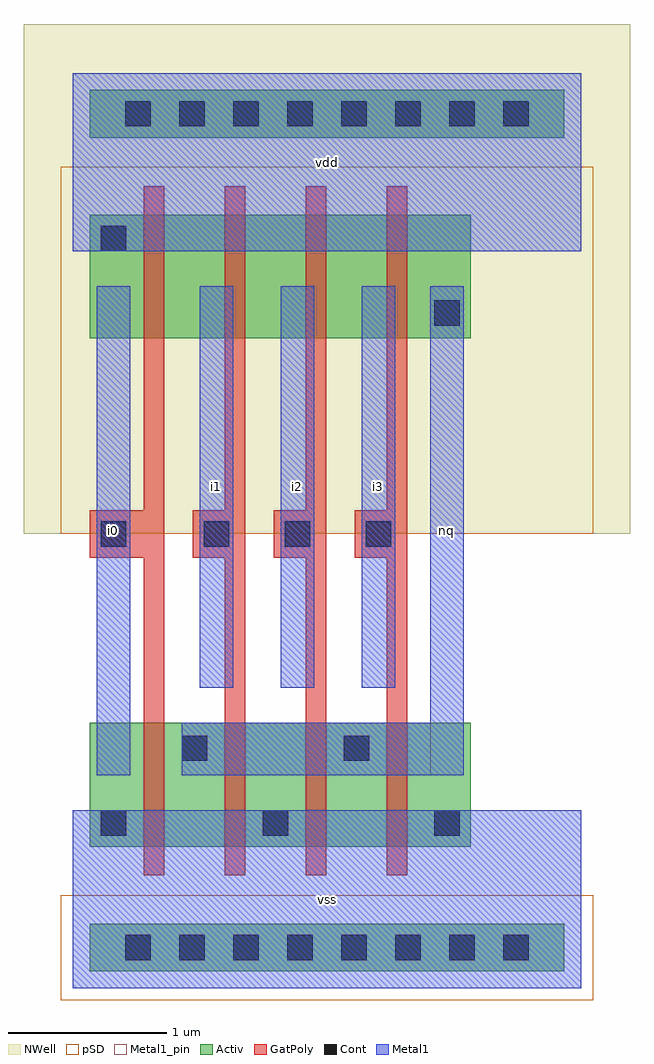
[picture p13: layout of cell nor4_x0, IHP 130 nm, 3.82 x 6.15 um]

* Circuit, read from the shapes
.subckt nor4_x0 i0 i1 i2 i3 nq vdd vss
XM1 nq i0 vss vss sg13_lv_nmos w=0.78u l=0.13u
XM2 vss i1 nq vss sg13_lv_nmos w=0.78u l=0.13u
XM3 nq i2 vss vss sg13_lv_nmos w=0.78u l=0.13u
XM4 vss i3 nq vss sg13_lv_nmos w=0.78u l=0.13u
XM5 n1 i0 vdd vdd sg13_lv_pmos w=0.78u l=0.13u
XM6 n2 i1 n1 vdd sg13_lv_pmos w=0.78u l=0.13u
XM7 n3 i2 n2 vdd sg13_lv_pmos w=0.78u l=0.13u
XM8 nq i3 n3 vdd sg13_lv_pmos w=0.78u l=0.13u
.ends

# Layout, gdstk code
import gdstk
lib = gdstk.Library(unit=1e-6, precision=1e-09)
def R(c, l, rs):  # rectangles x0, y0, x1, y1
    for r in rs: c.add(gdstk.rectangle(r[:2], r[2:], *l))
def A(c, l, x, y, w, h, nx, ny, dx, dy):  # array of equal rectangles
    R(c, l, [(x+i*dx, y+j*dy, x+i*dx+w, y+j*dy+h) for i in range(nx) for j in range(ny)])
def P(c, l, *ps):  # polygons
    for p in ps: c.add(gdstk.Polygon(p, *l))
Activ = (1, 0)
GatPoly = (5, 0)
Cont = (6, 0)
Metal1 = (8, 0)
Metal1_pin = (8, 2)
pSD = (14, 0)
NWell = (31, 0)

nor4_x0 = lib.new_cell('nor4_x0')
P(nor4_x0, Activ, [(0.215,4.09),(0.215,4.87),(0.445,4.87),(0.445,4.09),(0.215,4.09)],
  [(0.955,4.09),(0.955,4.87),(1.085,4.87),(1.085,4.09),(0.955,4.09)],
  [(0.105,4.09),(0.105,4.87),(0.405,4.87),(0.405,4.09),(0.105,4.09)],
  [(0.445,4.09),(0.445,4.87),(0.575,4.87),(0.575,4.09),(0.445,4.09)],
  [(1.465,4.09),(1.465,4.87),(1.595,4.87),(1.595,4.09),(1.465,4.09)],
  [(0.105,5.355),(0.105,5.655),(3.095,5.655),(3.095,5.355),(0.105,5.355)],
  [(0.105,4.09),(0.105,4.87),(0.375,4.87),(0.375,4.09),(0.105,4.09)],
  [(0.105,4.57),(0.105,4.87),(0.405,4.87),(0.405,4.57),(0.105,4.57)],
  [(0.26,5.355),(0.26,5.655),(2.94,5.655),(2.94,5.355),(0.26,5.355)],
  [(1.975,4.09),(1.975,4.87),(2.105,4.87),(2.105,4.09),(1.975,4.09)],
  [(0.105,0.89),(0.105,1.67),(0.375,1.67),(0.375,0.89),(0.105,0.89)],
  [(2.205,0.89),(2.205,1.67),(2.505,1.67),(2.505,0.89),(2.205,0.89)],
  [(0.105,0.89),(0.105,1.19),(0.405,1.19),(0.405,0.89),(0.105,0.89)],
  [(0.105,0.105),(0.105,0.405),(3.095,0.405),(3.095,0.105),(0.105,0.105)],
  [(0.955,0.89),(0.955,1.67),(1.085,1.67),(1.085,0.89),(0.955,0.89)],
  [(2.205,0.89),(2.205,1.19),(2.505,1.19),(2.505,0.89),(2.205,0.89)],
  [(1.125,0.89),(1.125,1.19),(1.425,1.19),(1.425,0.89),(1.125,0.89)],
  [(0.215,0.89),(0.215,1.67),(0.445,1.67),(0.445,0.89),(0.215,0.89)],
  [(1.155,0.89),(1.155,1.67),(1.395,1.67),(1.395,0.89),(1.155,0.89)],
  [(2.105,0.89),(2.105,1.67),(2.335,1.67),(2.335,0.89),(2.105,0.89)],
  [(1.975,0.89),(1.975,1.67),(2.105,1.67),(2.105,0.89),(1.975,0.89)],
  [(0.105,0.89),(0.105,1.67),(0.405,1.67),(0.405,0.89),(0.105,0.89)],
  [(1.465,0.89),(1.465,1.67),(1.595,1.67),(1.595,0.89),(1.465,0.89)],
  [(1.125,0.89),(1.125,1.67),(1.425,1.67),(1.425,0.89),(1.125,0.89)],
  [(2.175,0.89),(2.175,1.67),(2.505,1.67),(2.505,0.89),(2.175,0.89)],
  [(0.445,0.89),(0.445,1.67),(0.575,1.67),(0.575,0.89),(0.445,0.89)],
  [(0.26,0.105),(0.26,0.405),(2.94,0.405),(2.94,0.105),(0.26,0.105)],
  [(1.085,0.89),(1.085,1.67),(1.315,1.67),(1.315,0.89),(1.085,0.89)],
  [(1.235,0.89),(1.235,1.67),(1.465,1.67),(1.465,0.89),(1.235,0.89)],
  [(0.645,4.09),(0.645,4.87),(0.885,4.87),(0.885,4.09),(0.645,4.09)],
  [(0.725,4.09),(0.725,4.87),(0.955,4.87),(0.955,4.09),(0.725,4.09)],
  [(0.58,4.09),(0.58,4.87),(0.95,4.87),(0.95,4.09),(0.58,4.09)],
  [(0.575,4.09),(0.575,4.87),(0.805,4.87),(0.805,4.09),(0.575,4.09)],
  [(1.6,4.09),(1.6,4.87),(1.97,4.87),(1.97,4.09),(1.6,4.09)],
  [(1.665,4.09),(1.665,4.87),(1.905,4.87),(1.905,4.09),(1.665,4.09)],
  [(1.595,4.09),(1.595,4.87),(1.825,4.87),(1.825,4.09),(1.595,4.09)],
  [(1.745,4.09),(1.745,4.87),(1.975,4.87),(1.975,4.09),(1.745,4.09)],
  [(1.155,4.09),(1.155,4.87),(1.395,4.87),(1.395,4.09),(1.155,4.09)],
  [(1.235,4.09),(1.235,4.87),(1.465,4.87),(1.465,4.09),(1.235,4.09)],
  [(1.09,4.09),(1.09,4.87),(1.46,4.87),(1.46,4.09),(1.09,4.09)],
  [(1.085,4.09),(1.085,4.87),(1.315,4.87),(1.315,4.09),(1.085,4.09)],
  [(1.635,1.36),(1.635,1.66),(1.935,1.66),(1.935,1.36),(1.635,1.36)],
  [(1.665,0.89),(1.665,1.67),(1.905,1.67),(1.905,0.89),(1.665,0.89)],
  [(0.725,0.89),(0.725,1.67),(0.955,1.67),(0.955,0.89),(0.725,0.89)],
  [(0.645,0.89),(0.645,1.67),(0.885,1.67),(0.885,0.89),(0.645,0.89)],
  [(2.105,4.09),(2.105,4.87),(2.335,4.87),(2.335,4.09),(2.105,4.09)],
  [(2.205,4.09),(2.205,4.87),(2.505,4.87),(2.505,4.09),(2.205,4.09)],
  [(0.615,0.89),(0.615,1.67),(0.915,1.67),(0.915,0.89),(0.615,0.89)],
  [(0.575,0.89),(0.575,1.67),(0.805,1.67),(0.805,0.89),(0.575,0.89)],
  [(2.175,4.09),(2.175,4.87),(2.505,4.87),(2.505,4.09),(2.175,4.09)],
  [(2.205,4.1),(2.205,4.4),(2.505,4.4),(2.505,4.1),(2.205,4.1)],
  [(1.745,0.89),(1.745,1.67),(1.975,1.67),(1.975,0.89),(1.745,0.89)],
  [(1.635,0.89),(1.635,1.67),(1.935,1.67),(1.935,0.89),(1.635,0.89)],
  [(1.595,0.89),(1.595,1.67),(1.825,1.67),(1.825,0.89),(1.595,0.89)],
  [(0.615,1.36),(0.615,1.66),(0.915,1.66),(0.915,1.36),(0.615,1.36)])
P(nor4_x0, GatPoly, [(0.445,0.71),(0.445,3.91),(0.575,3.91),(0.575,0.71),(0.445,0.71)],
  [(0.255,2.71),(0.255,3.01),(0.51,3.01),(0.51,2.71),(0.255,2.71)],
  [(0.445,0.71),(0.445,1.85),(0.575,1.85),(0.575,0.71),(0.445,0.71)],
  [(0.105,2.71),(0.105,3.01),(0.405,3.01),(0.405,2.71),(0.105,2.71)],
  [(0.445,3.91),(0.445,5.05),(0.575,5.05),(0.575,3.91),(0.445,3.91)],
  [(0.955,0.71),(0.955,1.85),(1.085,1.85),(1.085,0.71),(0.955,0.71)],
  [(0.905,2.71),(0.905,3.01),(1.02,3.01),(1.02,2.71),(0.905,2.71)],
  [(0.955,0.71),(0.955,3.91),(1.085,3.91),(1.085,0.71),(0.955,0.71)],
  [(0.955,3.91),(0.955,5.05),(1.085,5.05),(1.085,3.91),(0.955,3.91)],
  [(0.755,2.71),(0.755,3.01),(1.055,3.01),(1.055,2.71),(0.755,2.71)],
  [(1.465,0.71),(1.465,1.85),(1.595,1.85),(1.595,0.71),(1.465,0.71)],
  [(1.465,3.91),(1.465,5.05),(1.595,5.05),(1.595,3.91),(1.465,3.91)],
  [(1.465,0.71),(1.465,3.91),(1.595,3.91),(1.595,0.71),(1.465,0.71)],
  [(1.265,2.71),(1.265,3.01),(1.565,3.01),(1.565,2.71),(1.265,2.71)],
  [(1.415,2.71),(1.415,3.01),(1.53,3.01),(1.53,2.71),(1.415,2.71)],
  [(1.975,0.71),(1.975,1.85),(2.105,1.85),(2.105,0.71),(1.975,0.71)],
  [(1.775,2.71),(1.775,3.01),(2.075,3.01),(2.075,2.71),(1.775,2.71)],
  [(1.975,0.71),(1.975,3.91),(2.105,3.91),(2.105,0.71),(1.975,0.71)],
  [(1.925,2.71),(1.925,3.01),(2.04,3.01),(2.04,2.71),(1.925,2.71)],
  [(1.975,3.91),(1.975,5.05),(2.105,5.05),(2.105,3.91),(1.975,3.91)])
P(nor4_x0, Cont, [(0.175,4.64),(0.175,4.8),(0.335,4.8),(0.335,4.64),(0.175,4.64)],
  [(0.33,5.425),(0.33,5.585),(0.49,5.585),(0.49,5.425),(0.33,5.425)],
  [(0.67,5.425),(0.67,5.585),(0.83,5.585),(0.83,5.425),(0.67,5.425)],
  [(1.01,5.425),(1.01,5.585),(1.17,5.585),(1.17,5.425),(1.01,5.425)],
  [(1.35,5.425),(1.35,5.585),(1.51,5.585),(1.51,5.425),(1.35,5.425)],
  [(1.69,5.425),(1.69,5.585),(1.85,5.585),(1.85,5.425),(1.69,5.425)],
  [(2.03,5.425),(2.03,5.585),(2.19,5.585),(2.19,5.425),(2.03,5.425)],
  [(2.37,5.425),(2.37,5.585),(2.53,5.585),(2.53,5.425),(2.37,5.425)],
  [(2.71,5.425),(2.71,5.585),(2.87,5.585),(2.87,5.425),(2.71,5.425)],
  [(2.71,0.175),(2.71,0.335),(2.87,0.335),(2.87,0.175),(2.71,0.175)],
  [(2.37,0.175),(2.37,0.335),(2.53,0.335),(2.53,0.175),(2.37,0.175)],
  [(2.03,0.175),(2.03,0.335),(2.19,0.335),(2.19,0.175),(2.03,0.175)],
  [(1.69,0.175),(1.69,0.335),(1.85,0.335),(1.85,0.175),(1.69,0.175)],
  [(1.35,0.175),(1.35,0.335),(1.51,0.335),(1.51,0.175),(1.35,0.175)],
  [(1.01,0.175),(1.01,0.335),(1.17,0.335),(1.17,0.175),(1.01,0.175)],
  [(0.67,0.175),(0.67,0.335),(0.83,0.335),(0.83,0.175),(0.67,0.175)],
  [(0.33,0.175),(0.33,0.335),(0.49,0.335),(0.49,0.175),(0.33,0.175)],
  [(0.175,0.96),(0.175,1.12),(0.335,1.12),(0.335,0.96),(0.175,0.96)],
  [(1.195,0.96),(1.195,1.12),(1.355,1.12),(1.355,0.96),(1.195,0.96)],
  [(2.275,0.96),(2.275,1.12),(2.435,1.12),(2.435,0.96),(2.275,0.96)],
  [(0.175,2.78),(0.175,2.94),(0.335,2.94),(0.335,2.78),(0.175,2.78)],
  [(0.825,2.78),(0.825,2.94),(0.985,2.94),(0.985,2.78),(0.825,2.78)],
  [(1.335,2.78),(1.335,2.94),(1.495,2.94),(1.495,2.78),(1.335,2.78)],
  [(1.845,2.78),(1.845,2.94),(2.005,2.94),(2.005,2.78),(1.845,2.78)],
  [(0.685,1.43),(0.685,1.59),(0.845,1.59),(0.845,1.43),(0.685,1.43)],
  [(1.705,1.43),(1.705,1.59),(1.865,1.59),(1.865,1.43),(1.705,1.43)],
  [(2.275,4.17),(2.275,4.33),(2.435,4.33),(2.435,4.17),(2.275,4.17)])
A(nor4_x0, Metal1, 0.8, 1.89, 0.21, 2.53, 3, 1, 0.51, 0)
R(nor4_x0, Metal1, [(0,0,3.2,1.12), (0.15,1.34,0.36,4.42), (2.25,1.34,2.46,4.42), (0,4.64,3.2,5.76)])
P(nor4_x0, Metal1, [(0.33,5.345),(0.33,5.665),(2.87,5.665),(2.87,5.345),(0.33,5.345)],
  [(0.095,4.64),(0.095,4.8),(0.415,4.8),(0.415,4.64),(0.095,4.64)],
  [(0,4.64),(0,5.76),(3.2,5.76),(3.2,4.64),(0,4.64)],
  [(0.33,0.095),(0.33,0.415),(2.87,0.415),(2.87,0.095),(0.33,0.095)],
  [(2.195,0.96),(2.195,1.12),(2.515,1.12),(2.515,0.96),(2.195,0.96)],
  [(1.115,0.96),(1.115,1.12),(1.435,1.12),(1.435,0.96),(1.115,0.96)],
  [(0,0),(0,1.12),(3.2,1.12),(3.2,0),(0,0)],
  [(0.095,0.96),(0.095,1.12),(0.415,1.12),(0.415,0.96),(0.095,0.96)],
  [(0.15,1.34),(0.15,4.42),(0.36,4.42),(0.36,1.34),(0.15,1.34)],
  [(0.175,2.7),(0.175,3.02),(0.335,3.02),(0.335,2.7),(0.175,2.7)],
  [(0.8,1.89),(0.8,4.42),(1.01,4.42),(1.01,1.89),(0.8,1.89)],
  [(0.825,2.7),(0.825,3.02),(0.985,3.02),(0.985,2.7),(0.825,2.7)],
  [(1.31,1.89),(1.31,4.42),(1.52,4.42),(1.52,1.89),(1.31,1.89)],
  [(1.335,2.7),(1.335,3.02),(1.495,3.02),(1.495,2.7),(1.335,2.7)],
  [(1.82,1.89),(1.82,4.42),(2.03,4.42),(2.03,1.89),(1.82,1.89)],
  [(1.845,2.7),(1.845,3.02),(2.005,3.02),(2.005,2.7),(1.845,2.7)],
  [(1.705,1.34),(1.705,1.67),(1.865,1.67),(1.865,1.34),(1.705,1.34)],
  [(2.275,4.09),(2.275,4.41),(2.435,4.41),(2.435,4.09),(2.275,4.09)],
  [(0.685,1.34),(0.685,1.67),(0.845,1.67),(0.845,1.34),(0.685,1.34)],
  [(0.685,1.35),(0.685,1.67),(0.845,1.67),(0.845,1.35),(0.685,1.35)],
  [(1.705,1.35),(1.705,1.67),(1.865,1.67),(1.865,1.35),(1.705,1.35)],
  [(2.25,1.34),(2.25,4.42),(2.46,4.42),(2.46,1.34),(2.25,1.34)],
  [(0.765,1.34),(0.765,1.67),(2.355,1.67),(2.355,1.34),(0.765,1.34)],
  [(2.25,1.35),(2.25,1.67),(2.46,1.67),(2.46,1.35),(2.25,1.35)],
  [(2.275,4.09),(2.275,4.42),(2.435,4.42),(2.435,4.09),(2.275,4.09)])
R(nor4_x0, Metal1_pin, [(0,0,3.2,1.12), (0,0,3.2,1.12), (0.15,1.34,0.36,4.42), (0.15,1.34,0.36,4.42), (2.25,1.34,2.46,4.42), (2.25,1.34,2.46,4.42), (0.8,1.89,1.01,4.42), (0.8,1.89,1.01,4.42), (1.31,1.89,1.52,4.42), (1.31,1.89,1.52,4.42), (1.82,1.89,2.03,4.42), (1.82,1.89,2.03,4.42), (0,4.64,3.2,5.76), (0,4.64,3.2,5.76)])
P(nor4_x0, pSD, [(-0.075,2.86),(-0.075,5.17),(3.275,5.17),(3.275,2.86),(-0.075,2.86)],
  [(2.025,3.8),(2.025,4.7),(2.685,4.7),(2.685,3.8),(2.025,3.8)],
  [(0.08,-0.075),(0.08,0.585),(3.12,0.585),(3.12,-0.075),(0.08,-0.075)],
  [(0.975,3.79),(0.975,5.17),(1.575,5.17),(1.575,3.79),(0.975,3.79)],
  [(0.91,3.79),(0.91,5.17),(1.64,5.17),(1.64,3.79),(0.91,3.79)],
  [(0.545,3.91),(0.545,5.05),(1.495,5.05),(1.495,3.91),(0.545,3.91)],
  [(1.055,3.91),(1.055,5.05),(2.005,5.05),(2.005,3.91),(1.055,3.91)],
  [(-0.075,-0.075),(-0.075,0.585),(3.275,0.585),(3.275,-0.075),(-0.075,-0.075)],
  [(1.42,3.79),(1.42,5.17),(2.15,5.17),(2.15,3.79),(1.42,3.79)],
  [(1.165,3.79),(1.165,5.17),(1.895,5.17),(1.895,3.79),(1.165,3.79)],
  [(-0.075,3.79),(-0.075,5.17),(0.555,5.17),(0.555,3.79),(-0.075,3.79)],
  [(-0.075,3.79),(-0.075,5.17),(0.585,5.17),(0.585,3.79),(-0.075,3.79)],
  [(0.655,3.79),(0.655,5.17),(1.385,5.17),(1.385,3.79),(0.655,3.79)],
  [(2.025,3.79),(2.025,5.17),(2.685,5.17),(2.685,3.79),(2.025,3.79)],
  [(0.035,3.91),(0.035,5.05),(0.985,5.05),(0.985,3.91),(0.035,3.91)],
  [(-0.075,4.27),(-0.075,5.17),(0.585,5.17),(0.585,4.27),(-0.075,4.27)],
  [(0.4,3.79),(0.4,5.17),(1.13,5.17),(1.13,3.79),(0.4,3.79)],
  [(0.145,3.79),(0.145,5.17),(0.875,5.17),(0.875,3.79),(0.145,3.79)],
  [(1.675,3.79),(1.675,5.17),(2.405,5.17),(2.405,3.79),(1.675,3.79)],
  [(0.465,3.79),(0.465,5.17),(1.065,5.17),(1.065,3.79),(0.465,3.79)],
  [(1.565,3.91),(1.565,5.05),(2.515,5.05),(2.515,3.91),(1.565,3.91)],
  [(1.485,3.79),(1.485,5.17),(2.085,5.17),(2.085,3.79),(1.485,3.79)],
  [(1.995,3.79),(1.995,5.17),(2.685,5.17),(2.685,3.79),(1.995,3.79)])
P(nor4_x0, NWell, [(-0.205,3.78),(-0.205,5.18),(0.685,5.18),(0.685,3.78),(-0.205,3.78)],
  [(1.29,3.78),(1.29,5.18),(2.28,5.18),(2.28,3.78),(1.29,3.78)],
  [(-0.31,2.86),(-0.31,6.07),(3.51,6.07),(3.51,2.86),(-0.31,2.86)],
  [(0.335,3.78),(0.335,5.18),(1.195,5.18),(1.195,3.78),(0.335,3.78)],
  [(0.925,3.78),(0.925,5.18),(2.135,5.18),(2.135,3.78),(0.925,3.78)],
  [(0.78,3.78),(0.78,5.18),(1.77,5.18),(1.77,3.78),(0.78,3.78)],
  [(1.355,3.78),(1.355,5.18),(2.215,5.18),(2.215,3.78),(1.355,3.78)],
  [(0.415,3.78),(0.415,5.18),(1.625,5.18),(1.625,3.78),(0.415,3.78)],
  [(0.27,3.78),(0.27,5.18),(1.26,5.18),(1.26,3.78),(0.27,3.78)],
  [(-0.205,4.26),(-0.205,5.18),(0.715,5.18),(0.715,4.26),(-0.205,4.26)],
  [(-0.205,3.78),(-0.205,5.18),(0.715,5.18),(0.715,3.78),(-0.205,3.78)],
  [(-0.095,3.78),(-0.095,5.18),(1.115,5.18),(1.115,3.78),(-0.095,3.78)],
  [(1.865,3.78),(1.865,5.18),(2.815,5.18),(2.815,3.78),(1.865,3.78)],
  [(1.895,3.78),(1.895,5.18),(2.815,5.18),(2.815,3.78),(1.895,3.78)],
  [(-0.05,5.045),(-0.05,5.965),(3.25,5.965),(3.25,5.045),(-0.05,5.045)],
  [(0.845,3.78),(0.845,5.18),(1.705,5.18),(1.705,3.78),(0.845,3.78)],
  [(1.435,3.78),(1.435,5.18),(2.645,5.18),(2.645,3.78),(1.435,3.78)],
  [(-0.205,5.045),(-0.205,5.965),(3.405,5.965),(3.405,5.045),(-0.205,5.045)],
  [(1.895,3.79),(1.895,4.71),(2.815,4.71),(2.815,3.79),(1.895,3.79)])
nor4_x0.add(gdstk.Label('vdd', (1.6,5.2), layer=8, texttype=25))
nor4_x0.add(gdstk.Label('vss', (1.6,0.56), layer=8, texttype=25))
nor4_x0.add(gdstk.Label('i0', (0.255,2.88), layer=8, texttype=25))
nor4_x0.add(gdstk.Label('i1', (0.905,3.155), layer=8, texttype=25))
nor4_x0.add(gdstk.Label('i2', (1.415,3.155), layer=8, texttype=25))
nor4_x0.add(gdstk.Label('i3', (1.925,3.155), layer=8, texttype=25))
nor4_x0.add(gdstk.Label('nq', (2.355,2.88), layer=8, texttype=25))

lib.write_gds('nor4_x0.gds')
